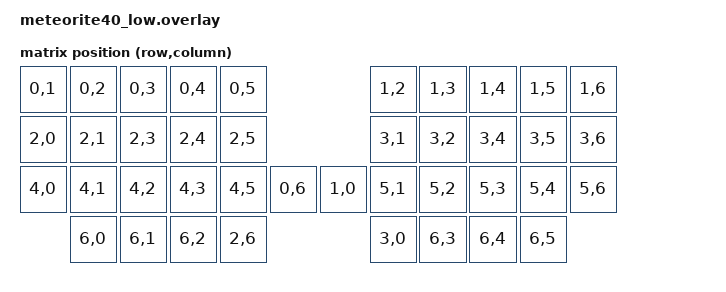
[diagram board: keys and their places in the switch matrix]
#include "../common/meteorite40.dtsi"
#include "../common/meteorite40-usb.overlay"
#include "meteorite40_low-layout.dtsi"

&LOW_PROFILE_DEFAULT {
    transform = <&transform_low_default>;
};

/ {
    chosen {
        zmk,kscan = &meteorite40_scan;
        zmk,physical-layout = &LOW_PROFILE_DEFAULT;
        //transform = <&default_transform>;
    };

    transform_low_default: keymap_transform_low_default {
        compatible = "zmk,matrix-transform";
        columns = <7>;
        rows = <7>;
        map = <
            RC(0,1) RC(0,2) RC(0,3) RC(0,4) RC(0,5)                 RC(1,2) RC(1,3) RC(1,4) RC(1,5) RC(1,6)
            RC(2,0) RC(2,1) RC(2,3) RC(2,4) RC(2,5)                 RC(3,1) RC(3,2) RC(3,4) RC(3,5) RC(3,6)
            RC(4,0) RC(4,1) RC(4,2) RC(4,3) RC(4,5) RC(0,6) RC(1,0) RC(5,1) RC(5,2) RC(5,3) RC(5,4) RC(5,6)
                     RC(6,0) RC(6,1)    RC(6,2)    RC(2,6)  RC(3,0)     RC(6,3)    RC(6,4) RC(6,5)  
        >;
    };
};
